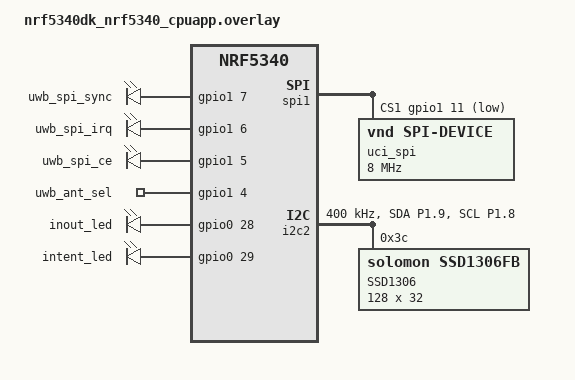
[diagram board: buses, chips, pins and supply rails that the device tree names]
/*
 * Copyright (c) 2025 Nordic Semiconductor ASA
 *
 * SPDX-License-Identifier: LicenseRef-Nordic-5-Clause
 */


&pinctrl {
	i2c2_default: i2c2_default {
		group1 {
			psels = <NRF_PSEL(TWIM_SDA, 1, 9)>,
				<NRF_PSEL(TWIM_SCL, 1, 8)>;
	        bias-pull-up;
		};
	};

	i2c2_sleep: i2c2_sleep {
		group1 {
			psels = <NRF_PSEL(TWIM_SDA, 1, 9)>,
				<NRF_PSEL(TWIM_SCL, 1, 8)>;
			low-power-enable;
	        bias-pull-up;
		};
	};
};

&spi1 {
	/* CS array: @0: NFC reader             @1: Murata 2BP UWB module */
	cs-gpios = <&gpio1 12 GPIO_ACTIVE_LOW>, <&gpio1 11 GPIO_ACTIVE_LOW>;

	uci_spi: uci_spi@1 {
		compatible = "vnd,spi-device";
		status = "okay";
		reg = <1>;
		spi-max-frequency = <DT_FREQ_M(8)>;
	};
};

&i2c2 {
    compatible = "nordic,nrf-twim";
	zephyr,flash-buf-max-size = <2048>;
    status = "okay";
    clock-frequency = <I2C_BITRATE_FAST>;
    pinctrl-0 = <&i2c2_default>;
    pinctrl-1 = <&i2c2_sleep>;
    pinctrl-names = "default", "sleep";

	/* SSD1306 OLED display */
    display: ssd1306@3c {
        compatible = "solomon,ssd1306fb";
        reg = <0x3c>;
        label = "SSD1306";
        height = <32>;
        width  = <128>;
        segment-offset  = <0>;
        page-offset     = <0>;
        display-offset  = <0>;
        multiplex-ratio = <31>;
        prechargep      = <0xD1>;
        segment-remap;
        com-invdir;
        com-sequential;
    };
};

/ {
	gpio {
		compatible = "gpio-leds";

		// sync
		uwb_spi_sync: uwb_gpio_1 {
			gpios = <&gpio1 7 (GPIO_ACTIVE_HIGH)>;
		};

		// irq
		uwb_spi_irq: uwb_gpio_2 {
			gpios = <&gpio1 6 (GPIO_ACTIVE_HIGH)>;
		};

		// ce
		uwb_spi_ce: uwb_gpio_3 {
			gpios = <&gpio1 5 (GPIO_ACTIVE_HIGH)>;
		};

		// antenna sel
		uwb_ant_sel: uwb_gpio_4 {
			gpios = <&gpio1 4 (GPIO_ACTIVE_HIGH)>;
		};

		// in out indicator led
		inout_led: uwb_gpio_5 {
			gpios = <&gpio0 28 (GPIO_ACTIVE_HIGH)>;
		};

		// intent indicator led
		intent_led: uwb_gpio_6 {
			gpios = <&gpio0 29 (GPIO_ACTIVE_HIGH)>;
		};
	};
};


